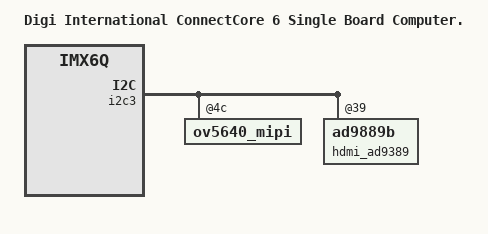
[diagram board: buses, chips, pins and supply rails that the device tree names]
/*
 * Copyright 2014 Digi International, Inc.
 *
 * The code contained herein is licensed under the GNU General Public
 * License. You may obtain a copy of the GNU General Public License
 * Version 2 or later at the following locations:
 *
 * http://www.opensource.org/licenses/gpl-license.html
 * http://www.gnu.org/copyleft/gpl.html
 */

#include "imx6qdl-ccimx6sbc.dtsi"

/ {
	model = "Digi International ConnectCore 6 Single Board Computer.";
	compatible = "digi,ccimx6sbc", "digi,ccimx6", "fsl,imx6q";
	digi,machine,name = "ccimx6sbc";

	aliases {
		mxcfb0 = &mxcfb1;
		mxcfb1 = &mxcfb2;
		mxcfb2 = &mxcfb3;
		mxcfb3 = &mxcfb4;
	};

	mxcfb3: fb@2 {
		compatible = "fsl,mxc_sdc_fb";
		disp_dev = "lcd";
		interface_pix_fmt = "RGB24";
		mode_str ="LQ070Y3DG3B";
		default_bpp = <32>;
		int_clk = <0>;
		late_init = <0>;
	};

	mxcfb4: fb@3 {
		compatible = "fsl,mxc_sdc_fb";
		disp_dev = "ldb";
		interface_pix_fmt = "RGB666";
		default_bpp = <16>;
		int_clk = <0>;
		late_init = <0>;
	};
};

&hdmi_core {
	ipu_id = <1>;
	disp_id = <1>;
};

&ldb {
	lvds-channel@0 {
		crtc = "ipu1-di0";
		primary;
	};

	lvds-channel@1 {
		crtc = "ipu1-di1";
	};
};

&i2c3 {
        ov5640_mipi: ov5640_mipi@4c {
                ipu_id = <1>;
                csi_id = <1>;
        };

	hdmi_ad9389: ad9889b@39 {
		pinctrl-0 = <&pinctrl_ipu2>;
		ipu_id = <1>;
		disp_id = <0>;
	};
};

&mipi_csi {
        ipu_id = <1>;
        csi_id = <1>;
};

&v4l2_cap_0 {
	ipu_id = <1>;
	csi_id = <1>;
};

&v4l2_cap_1 {
	ipu_id = <0>;
	csi_id = <0>;
};

&iomuxc {


	ipu2 {
		pinctrl_ipu2: ipu2 {
			fsl,pins = <
				/* Display IRQ */
				MX6QDL_PAD_NANDF_D1__GPIO2_IO01            0x80000000
				/* Display contrast */
				MX6QDL_PAD_DI0_PIN4__GPIO4_IO20            0x80000000
				MX6QDL_PAD_DI0_DISP_CLK__IPU2_DI0_DISP_CLK 0x38
				MX6QDL_PAD_DI0_PIN15__IPU2_DI0_PIN15       0x10
				MX6QDL_PAD_DI0_PIN2__IPU2_DI0_PIN02        0x10
				MX6QDL_PAD_DI0_PIN3__IPU2_DI0_PIN03        0x10
				MX6QDL_PAD_DISP0_DAT0__IPU2_DISP0_DATA00   0x10
				MX6QDL_PAD_DISP0_DAT1__IPU2_DISP0_DATA01   0x10
				MX6QDL_PAD_DISP0_DAT2__IPU2_DISP0_DATA02   0x10
				MX6QDL_PAD_DISP0_DAT3__IPU2_DISP0_DATA03   0x10
				MX6QDL_PAD_DISP0_DAT4__IPU2_DISP0_DATA04   0x10
				MX6QDL_PAD_DISP0_DAT5__IPU2_DISP0_DATA05   0x10
				MX6QDL_PAD_DISP0_DAT6__IPU2_DISP0_DATA06   0x10
				MX6QDL_PAD_DISP0_DAT7__IPU2_DISP0_DATA07   0x10
				MX6QDL_PAD_DISP0_DAT8__IPU2_DISP0_DATA08   0x10
				MX6QDL_PAD_DISP0_DAT9__IPU2_DISP0_DATA09   0x10
				MX6QDL_PAD_DISP0_DAT10__IPU2_DISP0_DATA10  0x10
				MX6QDL_PAD_DISP0_DAT11__IPU2_DISP0_DATA11  0x10
				MX6QDL_PAD_DISP0_DAT12__IPU2_DISP0_DATA12  0x10
				MX6QDL_PAD_DISP0_DAT13__IPU2_DISP0_DATA13  0x10
				MX6QDL_PAD_DISP0_DAT14__IPU2_DISP0_DATA14  0x10
				MX6QDL_PAD_DISP0_DAT15__IPU2_DISP0_DATA15  0x10
				MX6QDL_PAD_DISP0_DAT16__IPU2_DISP0_DATA16  0x10
				MX6QDL_PAD_DISP0_DAT17__IPU2_DISP0_DATA17  0x10
				MX6QDL_PAD_DISP0_DAT18__IPU2_DISP0_DATA18  0x10
				MX6QDL_PAD_DISP0_DAT19__IPU2_DISP0_DATA19  0x10
				MX6QDL_PAD_DISP0_DAT20__IPU2_DISP0_DATA20  0x10
				MX6QDL_PAD_DISP0_DAT21__IPU2_DISP0_DATA21  0x10
				MX6QDL_PAD_DISP0_DAT22__IPU2_DISP0_DATA22  0x10
				MX6QDL_PAD_DISP0_DAT23__IPU2_DISP0_DATA23  0x10
			>;
		};
	};
};
